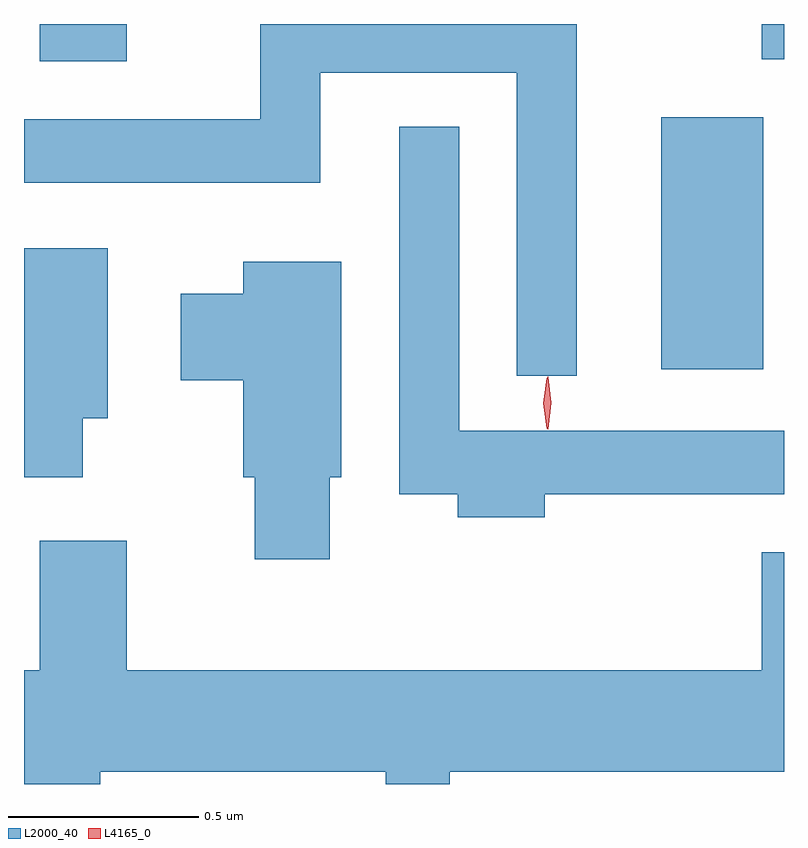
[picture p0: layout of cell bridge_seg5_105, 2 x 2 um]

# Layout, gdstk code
import gdstk
lib = gdstk.Library(unit=1e-6, precision=1e-09)
def R(c, l, rs):  # rectangles x0, y0, x1, y1
    for r in rs: c.add(gdstk.rectangle(r[:2], r[2:], *l))
def P(c, l, *ps):  # polygons
    for p in ps: c.add(gdstk.Polygon(p, *l))
L2000_40 = (2000, 40)
L4165_0 = (4165, 0)

bridge_seg5_105 = lib.new_cell('bridge_seg5_105')
R(bridge_seg5_105, L2000_40, [(1205.746,1491.156,1206.014,1491.819), (1204.111,1491.966,1204.339,1492.064), (1206.011,1491.971,1206.069,1492.064)])
P(bridge_seg5_105, L2000_40, [(1205.524,1492.064),(1204.691,1492.064),(1204.691,1491.814),(1204.069,1491.814),(1204.069,1491.646),(1204.849,1491.646),(1204.849,1491.936),(1205.366,1491.936),(1205.366,1491.138),(1205.524,1491.138)],
  [(1205.439,1490.826),(1206.069,1490.826),(1206.069,1490.994),(1205.214,1490.994),(1205.214,1491.793),(1205.056,1491.793),(1205.056,1490.826),(1205.211,1490.826),(1205.211,1490.766),(1205.439,1490.766)],
  [(1204.224,1491.026),(1204.289,1491.026),(1204.289,1491.474),(1204.069,1491.474),(1204.069,1490.871),(1204.224,1490.871)],
  [(1204.874,1490.871),(1204.904,1490.871),(1204.904,1491.439),(1204.646,1491.439),(1204.646,1491.354),(1204.481,1491.354),(1204.481,1491.126),(1204.646,1491.126),(1204.646,1490.871),(1204.676,1490.871),(1204.676,1490.656),(1204.874,1490.656)],
  [(1204.269,1490.096),(1205.021,1490.096),(1205.021,1490.064),(1205.189,1490.064),(1205.189,1490.096),(1206.069,1490.096),(1206.069,1490.674),(1206.011,1490.674),(1206.011,1490.364),(1204.339,1490.364),(1204.339,1490.704),(1204.111,1490.704),(1204.111,1490.364),(1204.069,1490.364),(1204.069,1490.064),(1204.269,1490.064)])
P(bridge_seg5_105, L4165_0, [(1205.446,1490.999),(1205.445,1491),(1205.436,1491.066),(1205.445,1491.132),(1205.446,1491.133),(1205.446,1491.132),(1205.456,1491.066),(1205.446,1491)],
  [(1205.447,1490.997),(1205.447,1490.997),(1205.437,1491.067),(1205.447,1491.136),(1205.447,1491.136),(1205.448,1491.136),(1205.457,1491.067),(1205.448,1490.997)])

lib.write_gds('bridge_seg5_105.gds')
